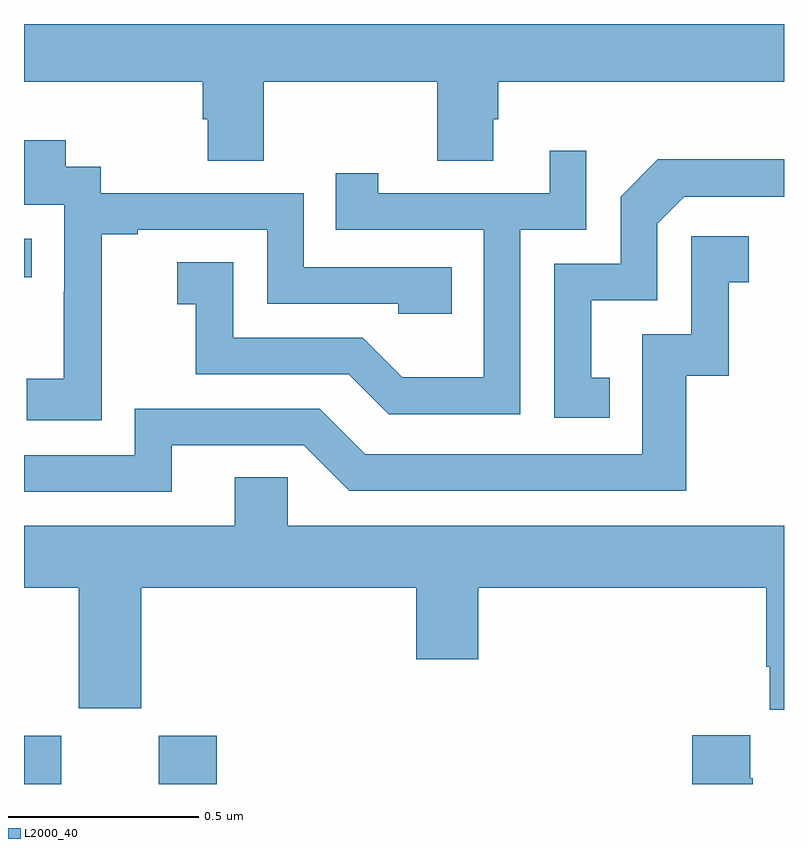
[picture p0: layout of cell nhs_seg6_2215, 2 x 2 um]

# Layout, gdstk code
import gdstk
lib = gdstk.Library(unit=1e-6, precision=1e-09)
def R(c, l, rs):  # rectangles x0, y0, x1, y1
    for r in rs: c.add(gdstk.rectangle(r[:2], r[2:], *l))
def P(c, l, *ps):  # polygons
    for p in ps: c.add(gdstk.Polygon(p, *l))
L2000_40 = (2000, 40)

nhs_seg6_2215 = lib.new_cell('nhs_seg6_2215')
R(nhs_seg6_2215, L2000_40, [(140,933.5,140.098,933.627), (140.354,933.5,140.507,933.627), (140,934.834,140.021,934.935)])
P(nhs_seg6_2215, L2000_40, [(142,935.5),(140,935.5),(140,935.348),(140.471,935.348),(140.471,935.25),(140.483,935.25),(140.483,935.14),(140.631,935.14),(140.631,935.348),(141.088,935.348),(141.088,935.14),(141.235,935.14),(141.235,935.25),(141.248,935.25),(141.248,935.348),(142,935.348)],
  [(140.205,934.663),(140.204,934.663),(140.204,934.947),(140.299,934.947),(140.299,934.959),(140.64,934.959),(140.64,934.764),(140.985,934.764),(140.985,934.737),(141.125,934.737),(141.125,934.86),(140.736,934.86),(140.736,935.055),(140.202,935.055),(140.202,935.124),(140.11,935.124),(140.11,935.194),(140.001,935.194),(140.001,935.025),(140.106,935.025),(140.106,934.796),(140.105,934.796),(140.105,934.567),(140.007,934.567),(140.007,934.457),(140.205,934.457)],
  [(141.306,934.959),(141.48,934.959),(141.48,935.167),(141.383,935.167),(141.383,935.055),(140.932,935.055),(140.932,935.107),(140.821,935.107),(140.821,934.959),(141.21,934.959),(141.21,934.57),(140.996,934.57),(140.892,934.674),(140.55,934.674),(140.55,934.873),(140.403,934.873),(140.403,934.763),(140.452,934.763),(140.452,934.578),(140.855,934.578),(140.96,934.473),(141.306,934.473)],
  [(141.542,934.569),(141.493,934.569),(141.493,934.773),(141.666,934.773),(141.666,934.974),(141.738,935.046),(142,935.046),(142,935.144),(141.668,935.144),(141.57,935.046),(141.57,934.869),(141.396,934.869),(141.396,934.464),(141.542,934.464)],
  [(140.389,934.392),(140.736,934.392),(140.856,934.272),(141.743,934.272),(141.743,934.575),(141.854,934.575),(141.854,934.821),(141.907,934.821),(141.907,934.942),(141.756,934.942),(141.756,934.683),(141.627,934.683),(141.627,934.368),(140.898,934.368),(140.778,934.488),(140.292,934.488),(140.292,934.365),(140,934.365),(140,934.269),(140.389,934.269)],
  [(140.694,934.307),(140.555,934.307),(140.555,934.18),(140,934.18),(140,934.016),(140.144,934.016),(140.144,933.699),(140.308,933.699),(140.308,934.016),(141.032,934.016),(141.032,933.828),(141.196,933.828),(141.196,934.016),(141.953,934.016),(141.953,933.808),(141.962,933.808),(141.962,933.696),(142,933.696),(142,934.18),(140.694,934.18)],
  [(141.918,933.515),(141.911,933.515),(141.911,933.628),(141.758,933.628),(141.758,933.5),(141.918,933.5)])

lib.write_gds('nhs_seg6_2215.gds')
